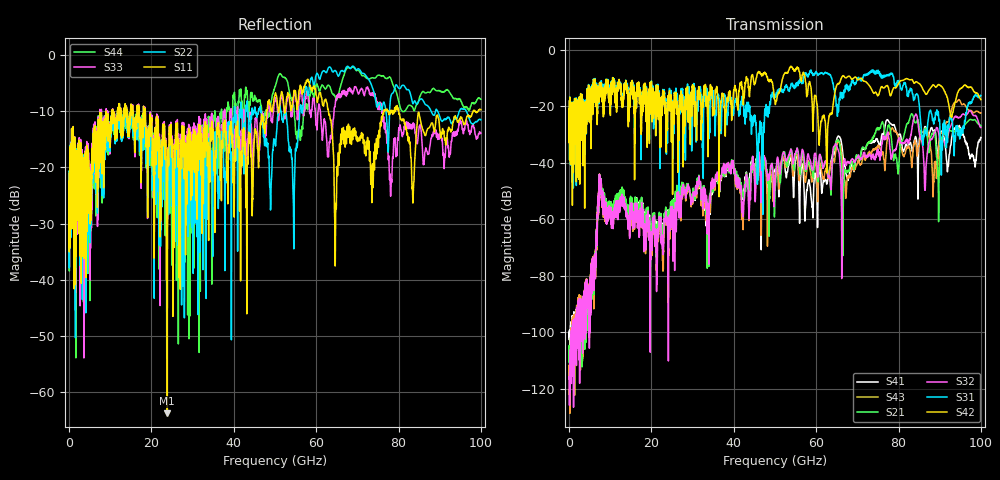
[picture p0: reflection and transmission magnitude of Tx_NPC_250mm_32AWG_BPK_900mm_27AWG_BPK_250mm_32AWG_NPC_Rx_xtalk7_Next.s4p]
! Info: Touchstone file created by Circ.  Input file=Tx_NPC_250mm_32AWG_BPK_900mm_27AWG_BPK_250mm_32AWG_NPC_Rx.circ
# Hz S RI R 50
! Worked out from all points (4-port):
!   10000 points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, 10 MHz to 100 GHz, reference 50 ohm
!   strongest paths, dB at 10 MHz, 25.01 GHz, 50.01 GHz, 75.01 GHz, 100 GHz:
!     S42: -27.5, -19.4, -18.3, -16.3, -17.6
!     S31: -27.5, -17.9, -16.0, -7.5, -16.2
!     S32: -115.7, -55.8, -46.9, -35.1, -27.5
!     S21: -104.7, -53.5, -51.0, -28.3, -26.9
!     S43: -121.9, -55.8, -44.2, -33.7, -22.4
!     S41: -100.0, -53.7, -42.2, -32.6, -31.0
!   lowest |S11| = -63.7 dB at 23.85 GHz (marker M1), VSWR 1.00, Z = 50 - j0.064 ohm
!   |S11| at or under -10 dB: 18.46 GHz to 47.97 GHz (29.51 GHz wide, 88.8 % of centre); 62.97 GHz to 76.45 GHz (13.47 GHz wide, 19.3 % of centre); 80.04 GHz to 98.12 GHz (18.08 GHz wide, 20.3 % of centre) (the widest 3 of 50)
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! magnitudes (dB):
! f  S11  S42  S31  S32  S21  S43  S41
! 10 MHz  -23.1  -27.5  -27.5  -115.7  -104.7  -121.9  -100.0
! 5.66 GHz  -20.6  -18.9  -19.0  -83.1  -83.2  -85.4  -84.1
! 7.72 GHz  -14.5  -13.8  -13.0  -46.4  -46.1  -46.8  -46.4
! 23.85 GHz  -63.7  -28.5  -30.7  -59.3  -57.3  -59.5  -56.7
! 45.85 GHz  -16.9  -8.3  -44.4  -37.0  -36.9  -36.6  -36.1
! 63.21 GHz  -10.6  -23.3  -8.7  -44.5  -45.2  -43.9  -43.0
! 100 GHz  -9.8  -17.6  -16.2  -27.5  -26.9  -22.4  -31.0
